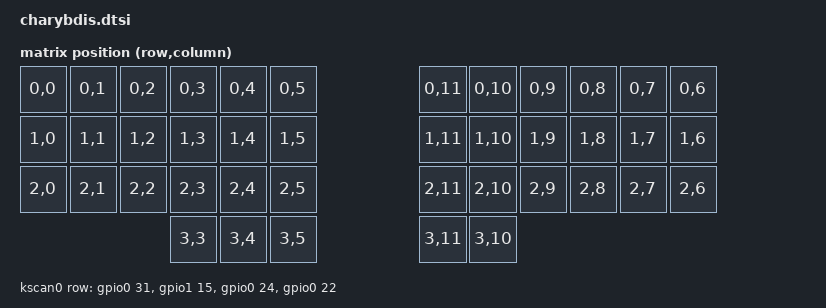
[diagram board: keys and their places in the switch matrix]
#include <dt-bindings/zmk/matrix_transform.h>
#include <input/processors.dtsi>
#include <dt-bindings/zmk/input_transform.h>

/ {
    chosen {
        zmk,kscan = &kscan0;
        zmk,matrix_transform = &default_transform;
    };

    default_transform: keymap_transform_0 {
		compatible = "zmk,matrix-transform";
        columns = <12>;
        rows = <4>;

        map = <
			RC(0,0) RC(0,1) RC(0,2) RC(0,3) RC(0,4) RC(0,5)                   RC(0,11) RC(0,10) RC(0,9) RC(0,8) RC(0,7) RC(0,6)
			RC(1,0) RC(1,1) RC(1,2) RC(1,3) RC(1,4) RC(1,5)                   RC(1,11) RC(1,10) RC(1,9) RC(1,8) RC(1,7) RC(1,6)
			RC(2,0) RC(2,1) RC(2,2) RC(2,3) RC(2,4) RC(2,5)                   RC(2,11) RC(2,10) RC(2,9) RC(2,8) RC(2,7) RC(2,6)
			                        RC(3,3) RC(3,4) RC(3,5)                   RC(3,11) RC(3,10)
     >;
};
	
    kscan0: kscan {
        compatible = "zmk,kscan-gpio-matrix";
        label = "KSCAN";

        diode-direction = "row2col";
		row-gpios
            = <&gpio0 31 GPIO_ACTIVE_HIGH>
            , <&gpio1 15 GPIO_ACTIVE_HIGH>
            , <&gpio0 24 GPIO_ACTIVE_HIGH>
	        , <&gpio0 22 GPIO_ACTIVE_HIGH>
	      
            ;
    };
	
	trackball_listener {
		/* base processor chain on all layers */
		input-processors = <&zip_xy_scaler 5 5>;

		/* layer-1 scroll override */
		scroller: scroller {
			layers           = <1>;
			input-processors = <
				&zip_xy_scaler 1 15                              // Scales the scroll speed
				&zip_xy_to_scroll_mapper                         // Converts XY movement to scroll events
				&zip_scroll_transform (INPUT_TRANSFORM_Y_INVERT) // Inverts the scroll direction
			>;
		};

		/* layer-2 slow-pointer override */
		slow_pointer: slow_pointer {
			layers           = <2>;
			input-processors = <&zip_xy_scaler 2 6>;
		};
	};

};

